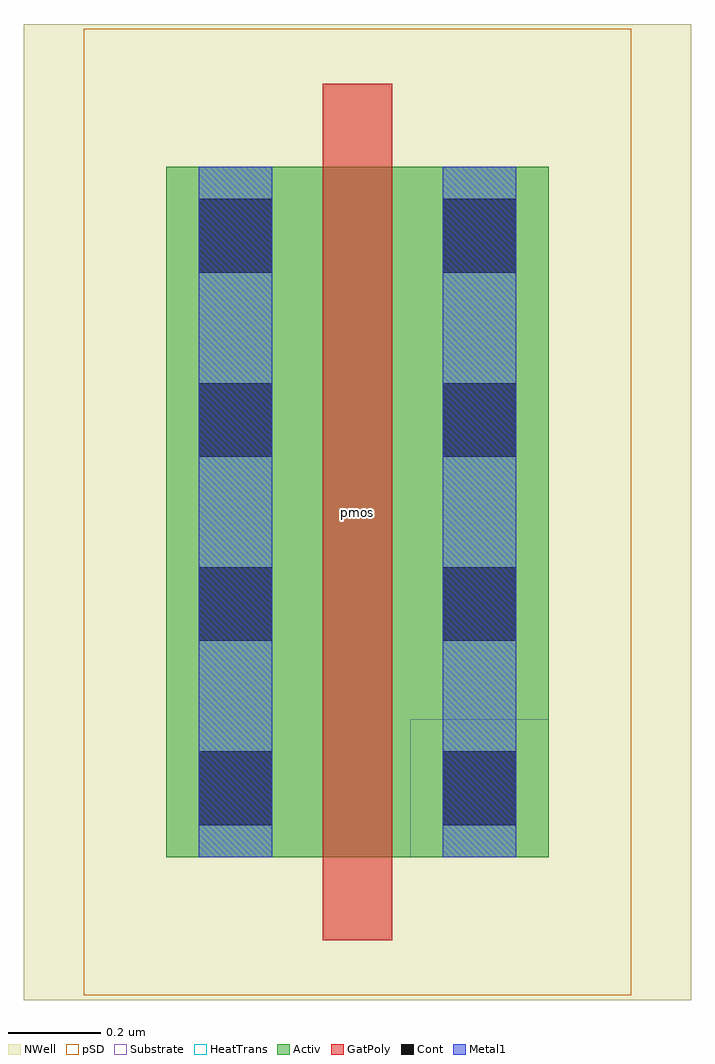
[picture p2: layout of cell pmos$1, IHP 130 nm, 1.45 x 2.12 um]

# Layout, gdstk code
import gdstk
lib = gdstk.Library(unit=1e-6, precision=5e-09)
def R(c, l, rs):  # rectangles x0, y0, x1, y1
    for r in rs: c.add(gdstk.rectangle(r[:2], r[2:], *l))
def A(c, l, x, y, w, h, nx, ny, dx, dy):  # array of equal rectangles
    R(c, l, [(x+i*dx, y+j*dy, x+i*dx+w, y+j*dy+h) for i in range(nx) for j in range(ny)])
Activ = (1, 0)
GatPoly = (5, 0)
Cont = (6, 0)
Metal1 = (8, 0)
pSD = (14, 0)
NWell = (31, 0)
Substrate = (40, 0)
HeatTrans = (51, 0)

pmos_1 = lib.new_cell('pmos$1')
R(pmos_1, Activ, [(0,0,0.3,0.3), (0,0,0.83,1.5), (0.53,0,0.83,0.3)])
R(pmos_1, GatPoly, [(0.34,-0.18,0.49,1.68), (0.34,-0.18,0.49,1.68)])
A(pmos_1, Cont, 0.07, 0.07, 0.16, 0.16, 1, 4, 0, 0.4)
A(pmos_1, Cont, 0.6, 0.07, 0.16, 0.16, 1, 4, 0, 0.4)
R(pmos_1, Metal1, [(0.07,0,0.23,1.5), (0.07,0,0.23,1.5), (0.6,0,0.76,1.5), (0.6,0,0.76,1.5)])
R(pmos_1, pSD, [(-0.18,-0.3,1.01,1.8)])
R(pmos_1, NWell, [(-0.31,-0.31,1.14,1.81)])
R(pmos_1, Substrate, [(0.53,0,0.83,0.3)])
R(pmos_1, HeatTrans, [(0.34,-0.18,0.49,1.68)])
pmos_1.add(gdstk.Label('pmos', (0.415,0.75), layer=63, texttype=0))
pmos_1.add(gdstk.Label('pmos', (0.415,0.75), layer=51, texttype=0))

lib.write_gds('pmos_1.gds')
